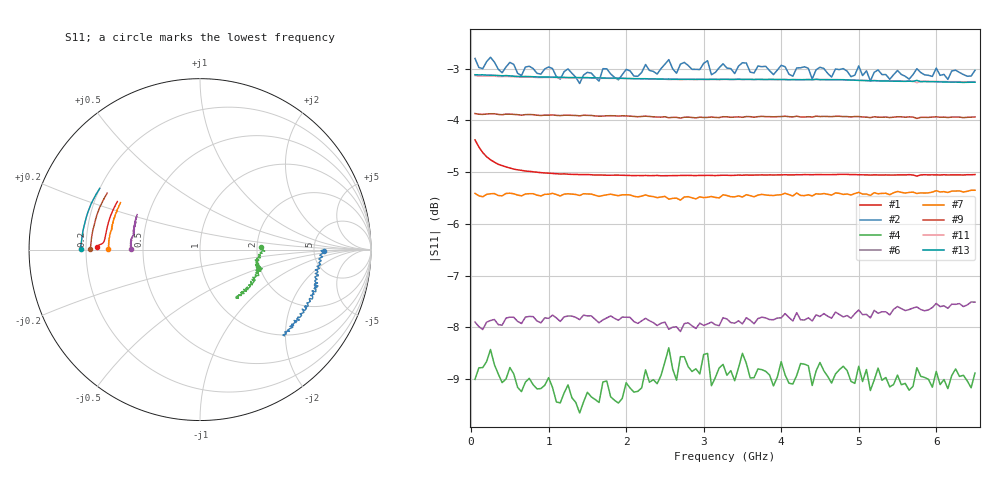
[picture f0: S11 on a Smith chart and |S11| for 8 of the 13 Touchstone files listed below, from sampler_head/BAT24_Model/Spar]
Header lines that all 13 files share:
! Infineon Technologies  Discrete & RF Semiconductors
! BAT24-02LS
! Si Schottky Diode in TSSLP-2
! S-Parameters:  July  2007
# GHz  S  MA  R  50
!  f  S11
! GHz  MAG  ANG
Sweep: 50 MHz to 6.5 GHz
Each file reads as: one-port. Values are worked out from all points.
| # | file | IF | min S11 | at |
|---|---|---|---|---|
| 1 | SIV00A10.S1P | 100 mA | -5.1 dB | 5.75 GHz |
| 2 | SIV00M20.S1P | 0.2 mA | -3.3 dB | 1.4 GHz |
| 3 | SIV00M30.S1P | 0.3 mA | -5.1 dB | 1.4 GHz |
| 4 | SIV00M50.S1P | 0.5 mA | -9.7 dB | 1.4 GHz |
| 5 | SIV001M0.S1P | 1 mA | -30.2 dB | 2.7 GHz |
| 6 | SIV002M0.S1P | 2 mA | -8.1 dB | 2.7 GHz |
| 7 | SIV003M0.S1P | 3 mA | -5.5 dB | 2.7 GHz |
| 8 | SIV004M0.S1P | 4 mA | -4.5 dB | 2.7 GHz |
| 9 | SIV005M0.S1P | 5 mA | -4.0 dB | 5.75 GHz |
| 10 | SIV006M0.S1P | 6 mA | -3.6 dB | 5.75 GHz |
| 11 | SIV008M0.S1P | 8 mA | -3.3 dB | 5.75 GHz |
| 12 | SIV0010M.S1P | 10 mA | -3.1 dB | 6.4 GHz |
| 13 | SIV0050M.S1P | 50 mA | -3.3 dB | 6.35 GHz |

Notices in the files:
sampler_head/BAT24_Model/Spar/SI1V00U0.S1P:
(c) 1999  Infineon Technologies AG, Munich
